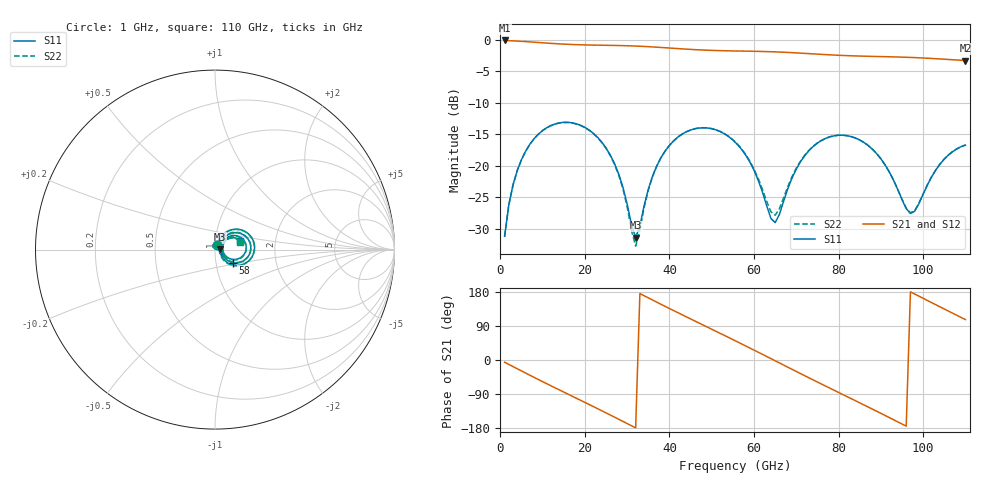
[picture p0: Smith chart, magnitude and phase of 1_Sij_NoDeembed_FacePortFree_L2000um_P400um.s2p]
! Touchstone file exported from HFSS 2024.2.0
!  File:  C:/Users/vaintrug/Documents/Ansoft_Workspace/Comparaison_Calculs_HFSS/1_VarPort.aedt
!  Generated:  03:22:19 PM Jan 21, 2025
!  Design:  1_NoDeembed_FacePortFree
!  Project:  1_VarPort
!  Setup:  Setup1
!  Solution:  Sweep
! Variables:
!  $Lenght = 2000um
!  $PortSize = 400um
!  Gap = 30um
!  Th = 2um
!  X_centralStrip = 20um
!  X_masse = 200um
!  Y_Sub = 2mm
!  Z_Box = 400um
!  Z_Sub = 200um
# GHz S MA R 50.000000
! Terminal data exported
! Port[1] = 1
! Port[2] = 2
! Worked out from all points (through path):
!   110 points, 1 GHz to 110 GHz, reference 50 ohm
!   highest |S21| = -0.13 dB at 1 GHz (marker M1); lowest = -3.3 dB at 110 GHz (marker M2)
!   group delay of S21, straight-line fit = 15.4 ps
!   lowest |S11| = -31.4 dB at 32 GHz (marker M3), VSWR 1.06, Z = 52.8 + j0.0693 ohm
!   |S11| at or under -10 dB: start of sweep to end of sweep
!   |S22| runs from -32.7 to -13.1 dB; largest |S21 - S12| = 2.5e-15
!   S11 on the Smith chart (normalised r, x): 1 GHz: 1.03, +0.05; 58 GHz: 1.20, -0.18; 110 GHz: 1.31, +0.13
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1  0.0276 61.1  0.9854 -5.9  0.9854 -5.9  0.0276 61.1
! Gamma 5.96399972133693 50.140000402745 5.88903151287339 49.895270406687
! Port Impedance 50 0 50 0
3  0.07077 65.6  0.9782 -17.4  0.9782 -17.4  0.07075 65.5
7  0.1486 48.8  0.9599 -40.3  0.9599 -40.3  0.1484 48.6
13  0.215 18.2  0.9298 -73.7  0.9298 -73.7  0.2146 17.7
20  0.2014 -16.7  0.9085 -112.0  0.9085 -112.0  0.2007 -17.5
27  0.1041 -45.9  0.8996 -150.8  0.8996 -150.8  0.1027 -47.9
32  0.02697 1.4  0.8895 -179.1  0.8895 -179.1  0.02307 2.4
35  0.06537 52.4  0.8796 163.9  0.8796 163.9  0.06436 55.7
38  0.1162 47.8  0.8672 147.0  0.8672 147.0  0.1159 49.6
43  0.1784 27.4  0.8451 119.3  0.8451 119.3  0.1784 28.5
47  0.1993 9.3  0.8302 97.5  0.8302 97.5  0.1995 10.2
51  0.1926 -8.7  0.82 75.7  0.82 75.7  0.193 -7.7
56  0.1485 -29.6  0.8129 48.3  0.8129 48.3  0.1495 -28.2
58  0.122 -36.4  0.8108 37.3  0.8108 37.3  0.1234 -34.6
65  0.03546 6.9  0.8 -2.1  0.8 -2.1  0.04061 5.4
70  0.09427 44.6  0.7854 -30.2  0.7854 -30.2  0.09581 41.2
74  0.1424 33.0  0.7712 -52.6  0.7712 -52.6  0.1429 30.5
83  0.1704 -3.9  0.7449 -102.1  0.7449 -102.1  0.1704 -5.5
92  0.08938 -31.9  0.7315 -151.9  0.7315 -151.9  0.08944 -33.1
97  0.04191 1.8  0.7228 179.8  0.7228 179.8  0.04238 0.6
103  0.09266 40.4  0.7064 145.9  0.7064 145.9  0.09289 38.9
110  0.1459 18.8  0.6832 106.7  0.6832 106.7  0.1461 17.5
